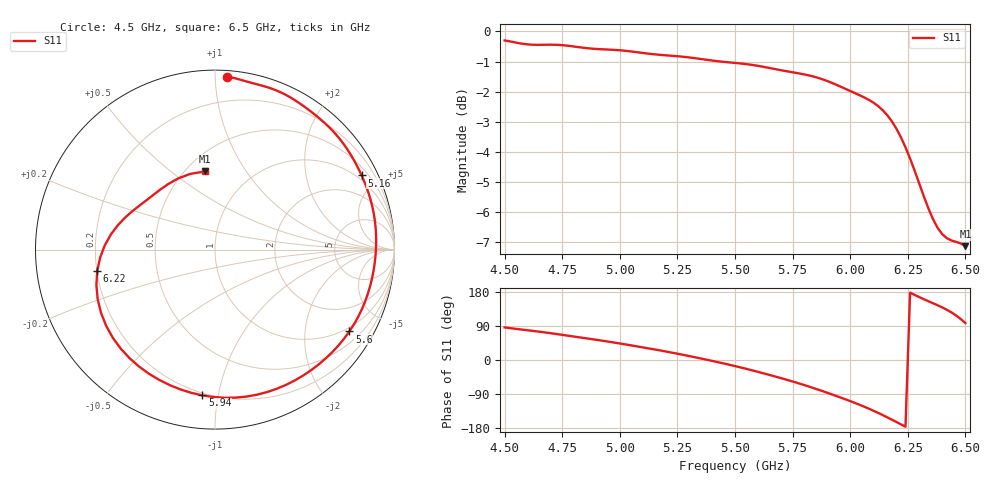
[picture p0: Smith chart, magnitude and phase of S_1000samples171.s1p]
! TOUCHSTONE file generated by CST MICROWAVE STUDIO
! Date and time: Thu Oct 27 05:58:53 2022
! Project name: L.cst
! Parameters = {Di=1.27; Epsilon_r=1.56; InnerDiameter=1.27; Length=2; Lf=10; Lg=60; OuterConductorThickness=0.2921; OuterDiameter=3.6; Wf=3; Wp=41.2; de=1.5; df=6.8; g=0.8; gx=4.31349; gy=2.28462; h=2.34; hf=1.524; px=8.98898; py=12.8376; w=9.7; wx=4.6755; wy=10.553}
! Header version: 2018
! Port assignment regex: !\s*Touchstone port\s*([0-9]+)\s*=\s*(CST MWS port|CST DS port)\s*([0-9]+|Zmin|Zmax)\s*\(\"(.*)\"\)(\s*mode\s*([0-9]+))?.*
! Touchstone port assignment:
! Touchstone port 1 = CST MWS port 1 ("")
# GHz S DB R 50
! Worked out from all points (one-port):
!   101 points, 4.5 GHz to 6.5 GHz, reference 50 ohm
!   lowest |S11| = -7.1 dB at 6.5 GHz (marker M1), VSWR 2.57, Z = 30.9 + j33.3 ohm
!   |S11| at or under -10 dB: nowhere
!   S11 on the Smith chart (normalised r, x): 4.5 GHz: 0.04, +1.07; 5.16 GHz: 0.79, +4.04; 5.6 GHz: 0.85, -3.36; 5.94 GHz: 0.19, -0.90; 6.22 GHz: 0.20, -0.09; 6.5 GHz: 0.62, +0.67
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4.5  -0.30 86.0
4.68  -0.44 72.3
4.76  -0.46 65.5
4.9  -0.58 53.1
5  -0.63 43.6
5.16  -0.77 26.8
5.26  -0.83 15.4
5.38  -0.95 0.4
5.5  -1.05 -16.1
5.6  -1.14 -31.4
5.68  -1.26 -44.5
5.76  -1.37 -58.5
5.82  -1.46 -69.9
5.86  -1.54 -78.0
5.9  -1.65 -86.3
5.94  -1.77 -95.0
6  -1.98 -108.5
6.04  -2.12 -118.0
6.08  -2.27 -128.2
6.14  -2.61 -145.0
6.18  -2.98 -157.2
6.22  -3.52 -169.7
6.26  -4.23 177.8
6.32  -5.50 160.2
6.38  -6.55 144.3
6.44  -6.96 125.4
6.48  -7.06 108.0
6.5  -7.15 97.4
